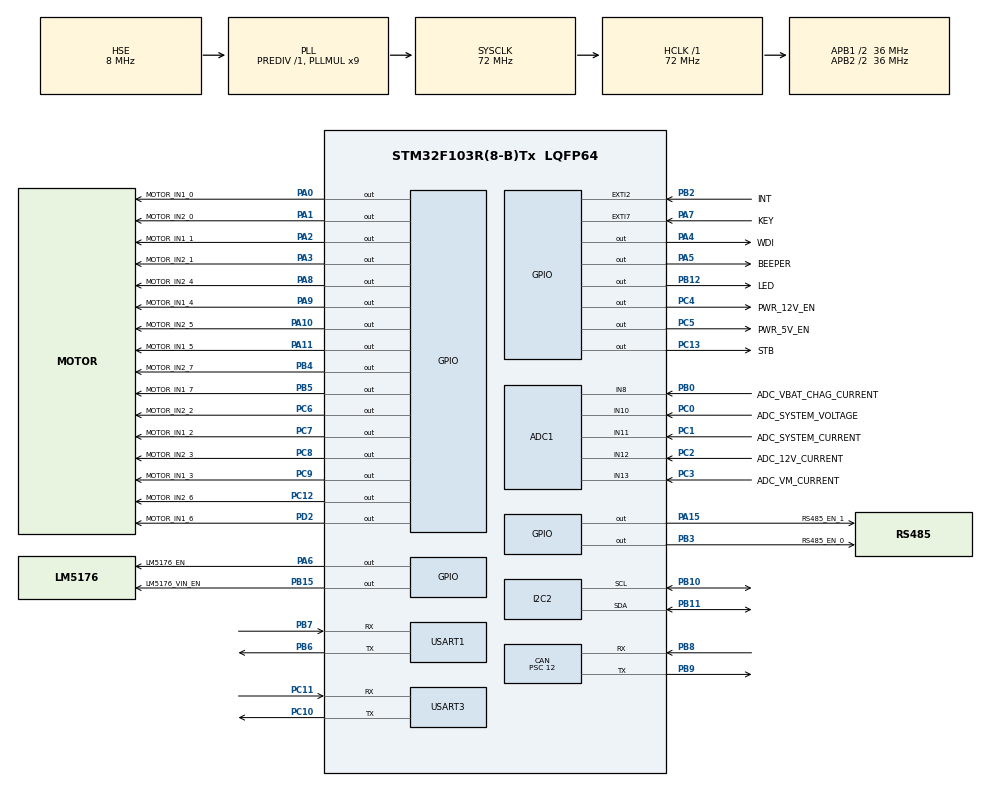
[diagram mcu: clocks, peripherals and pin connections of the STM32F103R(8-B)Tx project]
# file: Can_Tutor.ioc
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ADC1.Channel-0\#ChannelRegularConversion=ADC_CHANNEL_10
ADC1.DiscontinuousConvMode=DISABLE
ADC1.NbrOfConversion=1
ADC1.NbrOfConversionFlag=1
ADC1.Rank-0\#ChannelRegularConversion=1
ADC1.SamplingTime-0\#ChannelRegularConversion=ADC_SAMPLETIME_55CYCLES_5
ADC1.master=1
CAN.BS1=CAN_BS1_3TQ
CAN.BS2=CAN_BS2_2TQ
CAN.CalculateBaudRate=499999
CAN.CalculateTimeBit=2000
CAN.CalculateTimeQuantum=333.33333333333337
CAN.Prescaler=12
Mcu.Family=STM32F1
Mcu.Name=STM32F103R(8-B)Tx
Mcu.Package=LQFP64
NVIC.EXTI2_IRQn=true\:0\:0\:false\:false\:true\:true\:true\:true
NVIC.EXTI9_5_IRQn=true\:0\:0\:false\:false\:true\:true\:true\:true
NVIC.PriorityGroup=NVIC_PRIORITYGROUP_2
NVIC.TIM3_IRQn=true\:0\:0\:false\:false\:true\:true\:true\:true
NVIC.TIM4_IRQn=true\:0\:0\:true\:false\:true\:true\:true\:true
NVIC.USART1_IRQn=true\:0\:0\:true\:false\:true\:true\:true\:true
NVIC.USART3_IRQn=true\:0\:0\:true\:false\:true\:true\:true\:true
NVIC.USB_LP_CAN1_RX0_IRQn=true\:0\:0\:false\:false\:true\:true\:true\:true
PA0-WKUP.GPIO_Label=MOTOR_IN1_0
PA0-WKUP.Signal=GPIO_Output
PA1.GPIO_Label=MOTOR_IN2_0
PA1.Signal=GPIO_Output
PA10.GPIO_Label=MOTOR_IN2_5
PA10.Signal=GPIO_Output
PA11.GPIO_Label=MOTOR_IN1_5
PA11.Signal=GPIO_Output
PA13.Mode=Serial_Wire
PA13.Signal=SYS_JTMS-SWDIO
PA14.Mode=Serial_Wire
PA14.Signal=SYS_JTCK-SWCLK
PA15.GPIO_Label=RS485_EN_1
PA15.Signal=GPIO_Output
PA2.GPIO_Label=MOTOR_IN1_1
PA2.Signal=GPIO_Output
PA3.GPIO_Label=MOTOR_IN2_1
PA3.Signal=GPIO_Output
PA4.GPIO_Label=WDI
PA4.Signal=GPIO_Output
PA5.GPIO_Label=BEEPER
PA5.GPIO_Speed=GPIO_SPEED_FREQ_HIGH
PA5.PinState=GPIO_PIN_SET
PA5.Signal=GPIO_Output
PA6.GPIO_Label=LM5176_EN
PA6.Signal=GPIO_Output
PA7.GPIO_Label=KEY
PA7.GPIO_ModeDefaultEXTI=GPIO_MODE_IT_FALLING
PA7.Signal=GPXTI7
PA8.GPIO_Label=MOTOR_IN2_4
PA8.Signal=GPIO_Output
PA9.GPIO_Label=MOTOR_IN1_4
PA9.Signal=GPIO_Output
PB0.GPIO_Label=ADC_VBAT_CHAG_CURRENT
PB0.Signal=ADCx_IN8
PB10.GPIO_Pu=GPIO_PULLUP
PB10.Mode=I2C
PB10.Signal=I2C2_SCL
PB11.GPIO_Pu=GPIO_PULLUP
PB11.Mode=I2C
PB11.Signal=I2C2_SDA
PB12.GPIO_Label=LED
PB12.Signal=GPIO_Output
PB15.GPIO_Label=LM5176_VIN_EN
PB15.Signal=GPIO_Output
PB2.GPIO_Label=INT
PB2.GPIO_ModeDefaultEXTI=GPIO_MODE_IT_FALLING
PB2.Signal=GPXTI2
PB3.GPIO_Label=RS485_EN_0
PB3.Signal=GPIO_Output
PB4.GPIO_Label=MOTOR_IN2_7
PB4.Signal=GPIO_Output
PB5.GPIO_Label=MOTOR_IN1_7
PB5.Signal=GPIO_Output
PB6.Mode=Asynchronous
PB6.Signal=USART1_TX
PB7.Mode=Asynchronous
PB7.Signal=USART1_RX
PB8.Mode=CAN_Activate
PB8.Signal=CAN_RX
PB9.Mode=CAN_Activate
PB9.Signal=CAN_TX
PC0.GPIO_Label=ADC_SYSTEM_VOLTAGE
PC0.Signal=ADCx_IN10
PC1.GPIO_Label=ADC_SYSTEM_CURRENT
PC1.Signal=ADCx_IN11
PC10.Mode=Asynchronous
PC10.Signal=USART3_TX
PC11.Mode=Asynchronous
PC11.Signal=USART3_RX
PC12.GPIO_Label=MOTOR_IN2_6
PC12.Signal=GPIO_Output
PC13-TAMPER-RTC.GPIO_Label=STB
PC13-TAMPER-RTC.Signal=GPIO_Output
PC15-OSC32_OUT.Signal=RCC_OSC32_OUT
PC2.GPIO_Label=ADC_12V_CURRENT
PC2.Signal=ADCx_IN12
PC3.GPIO_Label=ADC_VM_CURRENT
PC3.Signal=ADCx_IN13
PC4.GPIO_Label=PWR_12V_EN
PC4.Signal=GPIO_Output
PC5.GPIO_Label=PWR_5V_EN
PC5.Signal=GPIO_Output
PC6.GPIO_Label=MOTOR_IN2_2
PC6.Signal=GPIO_Output
PC7.GPIO_Label=MOTOR_IN1_2
PC7.Signal=GPIO_Output
PC8.GPIO_Label=MOTOR_IN2_3
PC8.Signal=GPIO_Output
PC9.GPIO_Label=MOTOR_IN1_3
PC9.Signal=GPIO_Output
PD0-OSC_IN.Mode=HSE-External-Oscillator
PD0-OSC_IN.Signal=RCC_OSC_IN
PD1-OSC_OUT.Mode=HSE-External-Oscillator
PD1-OSC_OUT.Signal=RCC_OSC_OUT
PD2.GPIO_Label=MOTOR_IN1_6
PD2.Signal=GPIO_Output
ProjectManager.HeapSize=0x200
ProjectManager.StackSize=0x400
ProjectManager.TargetToolchain=MDK-ARM V5.27
RCC.ADCPresc=RCC_ADCPCLK2_DIV6
RCC.AHBFreq_Value=72000000
RCC.APB1CLKDivider=RCC_HCLK_DIV2
RCC.APB1Freq_Value=36000000
RCC.APB1TimFreq_Value=72000000
RCC.APB2CLKDivider=RCC_HCLK_DIV2
RCC.APB2Freq_Value=36000000
RCC.APB2TimFreq_Value=72000000
RCC.HCLKFreq_Value=72000000
RCC.PLLMUL=RCC_PLL_MUL9
RCC.PLLSourceVirtual=RCC_PLLSOURCE_HSE
RCC.SYSCLKFreq_VALUE=72000000
RCC.SYSCLKSource=RCC_SYSCLKSOURCE_PLLCLK
RCC.USBFreq_Value=72000000
SH.ADCx_IN10.0=ADC1_IN10,IN10
SH.ADCx_IN11.0=ADC1_IN11,IN11
SH.ADCx_IN12.0=ADC1_IN12,IN12
SH.ADCx_IN13.0=ADC1_IN13,IN13
SH.ADCx_IN8.0=ADC1_IN8,IN8
TIM3.AutoReloadPreload=TIM_AUTORELOAD_PRELOAD_ENABLE
TIM3.Period=999
TIM3.Prescaler=71
TIM4.AutoReloadPreload=TIM_AUTORELOAD_PRELOAD_ENABLE
TIM4.Period=99
TIM4.Prescaler=71
USART1.VirtualMode=VM_ASYNC
USART3.VirtualMode=VM_ASYNC
VP_TIM3_VS_ClockSourceINT.Mode=Internal
VP_TIM4_VS_ClockSourceINT.Mode=Internal
board=custom

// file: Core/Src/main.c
/* USER CODE BEGIN Header */
/**
 ******************************************************************************
 * @file           : main.c
 * @brief          : Main program body
 ******************************************************************************
 * @attention
 *
 * Copyright (c) 2024 STMicroelectronics.
 * All rights reserved.
 *
 * This software is licensed under terms that can be found in the LICENSE file
 * in the root directory of this software component.
 * If no LICENSE file comes with this software, it is provided AS-IS.
 *
 ******************************************************************************
 */
/* USER CODE END Header */
#include "main.h"

/* USER CODE BEGIN Includes */
// CAN通信
// https://blog.csdn.net/prolop87/article/details/122671441

// 串口模拟
// https://blog.csdn.net/Hard_Yao/article/details/128516418
#include <string.h>
#include <stdio.h>
#include <stdlib.h>

#include "leaf_ota.h"

/* USER CODE END Includes */

/* USER CODE BEGIN PD */
#define TCA9535_ADDRESS         (0x20)         // TCA9535的I2C地址
#define TCA9535_INPUT_PORT0_REG (0x00) // 输入端口0的寄存器地址
#define TCA9535_CONFIG_REG      (0x06)

#define CAN_RxExtId 0x17532F75

#define false 0
#define true 1

//=============================================================================
// 数据帧类型
//=============================================================================
#define CMD_OPEN_DOOR 0xA0
#define CMD_CLOSE_DOOR 0xA1
#define CMD_ALARM 0xA2
#define CMD_GET_DOOR_STATE 0xA3

#define CMD_TURN_ON 0xB1
#define CMD_TURN_OFF 0xB2

#define CMD_OTA_VERSION 0xC0
#define CMD_OTA_REQUEST 0xC1
#define CMD_OTA_DATA 0xC2
#define CMD_OTA_END 0xC3
#define CMD_OTA_RESET 0xC4

static uint16_t version = 0x0100; // 1.0
static uint16_t ota_file_size = 0;
static uint8_t ota_file_crc = 0;
static uint16_t firmwareSize = 0;
static uint16_t firmwareBatch = 0;
uint8_t firmwareBuffer[1024+8];

static int bOTA = 0;

int bPowerOff = 0;
int bPowerOff_count = 12;

int bTurnOff = 0;
int bTurnOff_count = 60;

/* USER CODE END PD */

ADC_HandleTypeDef hadc1;

CAN_HandleTypeDef hcan;

I2C_HandleTypeDef hi2c2;

TIM_HandleTypeDef htim2;
TIM_HandleTypeDef htim3;
TIM_HandleTypeDef htim4;

UART_HandleTypeDef huart1;
UART_HandleTypeDef huart3;

/* USER CODE BEGIN PV */

typedef struct
{
  uint8_t dir;
  uint8_t pwm;
  GPIO_TypeDef *GPIOx1;
  uint16_t GPIO_Pin1;
  GPIO_TypeDef *GPIOx2;
  uint16_t GPIO_Pin2;
} Motor_DataDef;

Motor_DataDef motor_pwm[8] = {
    {0, 0, MOTOR_IN1_0_GPIO_Port, MOTOR_IN1_0_Pin, MOTOR_IN2_0_GPIO_Port, MOTOR_IN2_0_Pin},
    {0, 0, MOTOR_IN1_1_GPIO_Port, MOTOR_IN1_1_Pin, MOTOR_IN2_1_GPIO_Port, MOTOR_IN2_1_Pin},
    {0, 0, MOTOR_IN1_2_GPIO_Port, MOTOR_IN1_2_Pin, MOTOR_IN2_2_GPIO_Port, MOTOR_IN2_2_Pin},
    {0, 0, MOTOR_IN1_3_GPIO_Port, MOTOR_IN1_3_Pin, MOTOR_IN2_3_GPIO_Port, MOTOR_IN2_3_Pin},
    {0, 0, MOTOR_IN1_4_GPIO_Port, MOTOR_IN1_4_Pin, MOTOR_IN2_4_GPIO_Port, MOTOR_IN2_4_Pin},
    {0, 0, MOTOR_IN1_5_GPIO_Port, MOTOR_IN1_5_Pin, MOTOR_IN2_5_GPIO_Port, MOTOR_IN2_5_Pin},
    {0, 0, MOTOR_IN1_6_GPIO_Port, MOTOR_IN1_6_Pin, MOTOR_IN2_6_GPIO_Port, MOTOR_IN2_6_Pin},
    {0, 0, MOTOR_IN1_7_GPIO_Port, MOTOR_IN1_7_Pin, MOTOR_IN2_7_GPIO_Port, MOTOR_IN2_7_Pin}};

uint16_t tm3_count = 0;
uint16_t tm4_count = 0;

uint16_t lastInuput = 0xFFFF; // 用于存储TCA9535的输入状态

// 当前传感器的状态
uint16_t cur_input = 0;
uint8_t bSendTCA = 0;

// CAN 通讯
uint8_t Rx_Flag;
uint8_t Tx_Flag;
uint8_t RxBuf[8];
uint8_t TxBuf[8];
uint8_t key;

CAN_TxHeaderTypeDef TxHeader; // 发送
CAN_RxHeaderTypeDef RxHeader; // 接收

uint8_t RxData[8]; // 数据接收数组，can的数据帧只有8帧

uint32_t CAN_TxExtId = 0x1800D0D8; // 发送ID

// KEY
volatile uint32_t keyPressTime = 0; // 记录按键按下时间
volatile enum { IDLE,
                LONG_PRESS_START,
                TURN_ON,
                TURN_OFF } keyState = IDLE,
                           runState = TURN_OFF; // 状态机

// ADC_Values
uint16_t ADC_Values[5];

// send adc data
uint8_t bSendAdc = 0;

/* 定义接收缓冲区 */
#define RXBUFFERSIZE 50
// uint8_t buffer1[RXBUFFERSIZE] = {0}; // USART1存储接收数据
// uint8_t UART1_Rx_flg = 0;            // USART1接收完成标志
// uint8_t sofar1 = 0;                  // USART1接受数据计数
uint8_t UART1_temp[1] = {0}; // USART1接收数据缓存

uint8_t buffer3[RXBUFFERSIZE] = {0}; // USART3存储接收数据
uint8_t UART3_Rx_flg = 0;            // USART3接收完成标志
uint8_t sofar3 = 0;                  // USART3接受数据计数
uint8_t UART3_temp[1] = {0};         // USART3接收数据缓存

// 1s timer
uint8_t bTimer1S = 0;

// 4s timer
uint8_t bTimer4S = 0;

uint8_t bAlarm = 0;
uint8_t alarm_count = 0;

/* USER CODE END PV */

void SystemClock_Config(void);
static void MX_GPIO_Init(void);
static void MX_ADC1_Init(void);
static void MX_CAN_Init(void);
static void MX_I2C2_Init(void);
static void MX_USART3_UART_Init(void);
static void MX_TIM3_Init(void);
static void MX_TIM4_Init(void);
static void MX_USART1_UART_Init(void);
/* USER CODE BEGIN PFP */

uint32_t GetChipID(void);

uint16_t ReadTCA9535Inputs(void);
void timer1s(void);

void CAN_Filter_Init(void); // 过滤器初始化
uint8_t CAN_Send_Msg(uint8_t *msg, uint8_t len);

void Key_Scan(void);

// ADC Read
uint16_t ADC_Read(uint32_t Channel);

void Send_TCA(void);
void Send_ADC(void);

int send_cmd(uint8_t *cmd, uint8_t len);

void Report_State(void);

/* USER CODE END PFP */

/* USER CODE BEGIN 0 */

// ============================== RS485 =========================================
/*****************************************************************************
函数名称 : CheckSum
功能描述 : 计算Checksum
输入参数 : uBuff:开始指针
          uBuffLen:长度

返回参数 : 所有的数值相加,取低8位,取反加1
*****************************************************************************/
unsigned char CheckSum(unsigned char *uBuff, unsigned char uBuffLen)
{
  unsigned char i, uSum = 0;
  for (i = 0; i < uBuffLen; i++)
  {
    uSum = uSum + uBuff[i];
  }
  uSum = (~uSum) + 1;
  return uSum;
}

unsigned char CheckSumFlash(uint32_t start_addr, uint16_t file_size)
{
  unsigned char uSum = 0;
  uint16_t batch = 0;
  uint16_t i = 0;

  for (batch = 0; batch < file_size / 256; batch++)
  {
    // Read 1024 bytes from flash
    STMFLASH_Read((start_addr + batch * 256), (uint32_t *) &firmwareBuffer[0], 64);
    for (i = 0; i < 256; i++)
    {
      uSum = uSum + firmwareBuffer[i];
    }
  }

  // read the remaining bytes
  STMFLASH_Read((start_addr + batch * 256), (uint32_t *) &firmwareBuffer[0], file_size % 256);

  for (i = 0; i < file_size % 256; i++)
  {
    uSum = uSum + firmwareBuffer[i];
  }

  uSum = (~uSum) + 1;

  return uSum;
}

void open_door(uint8_t door)
{
  if (cur_input |= (1 << door * 2))
  {
    printf("Door %d is already opened !\r\n", door);
    return;
  }
  else
  {
    printf("Open Door %d !\r\n", door);
    motor_pwm[door].dir = 1;
    motor_pwm[door].pwm = 50;
  }
}

void close_door(uint8_t door)
{
  printf("Close Door %d !\r\n", door);
  if (cur_input &= (1 << door * 2))
  {
    printf("Door %d is already closed !\r\n", door);
    return;
  }
  else
  {
    motor_pwm[door].dir = 0;
    motor_pwm[door].pwm = 50;
  }
}

unsigned char get_door_state(void)
{
  unsigned char door_state = 0;
  for (int i = 0; i < 8; i++)
  {
    if (cur_input & (1 << i * 2))
    {
      printf("Door %d is opened !\r\n", i);
      door_state |= (1 << i);
    }
  }

  return door_state;
}

// ============================== CAN =========================================
/*****************************************************************************
函数名称 : can_process
功能描述 : 收数据处理
输入参数 : value:串口收到字节数据
返回参数 : 无
使用说明 : 在MCU串口接收函数中调用该函数,并将接收到的数据作为参数传入
*****************************************************************************/

void dump_data(void)
{
  uint32_t * temp;

  temp = (uint32_t *) &firmwareBuffer[0];

  // dump the flash data from APP_NEW_FW_START_ADR
  for (int bank=0; bank < 1; bank++)
  {
    printf("Read Flash Data %x !\r\n", APP_NEW_FW_START_ADR + bank * 1024);

    STMFLASH_Read((APP_NEW_FW_START_ADR + bank * 1024), temp, 256);
    for (int i = 0; i < 256; i++)
    {
      printf("%08x ", temp[i]);
    }
    printf("\r\n");
  }

  for (int bank = 18; bank < 19; bank++)
  {
    printf("Read Flash Data %x !\r\n", APP_NEW_FW_START_ADR + bank * 1024);

    STMFLASH_Read((APP_NEW_FW_START_ADR + bank * 1024), temp, 256);
    for (int i = 0; i < 256; i++)
    {
      printf("%08x ", temp[i]);
    }
    printf("\r\n");
  }

}

uint8_t convert_vol(uint16_t adc, float scale)
{
  float voltage = adc / 4096.0 * 3.4 * 16;
  // printf("ADC = %d, Voltage = %f \r\n", adc, voltage);
  return (uint8_t) ((voltage - 25.0) / scale);
}

uint8_t convert_adc(uint16_t adc, float scale)
{
  float voltage = adc / 4096.0 * 3.4 * 1.36;
  float current = (voltage - 2.5) / scale ; // 20A 量程

  // printf("ADC = %d, Voltage = %f Current = %f\r\n", adc, voltage, current);

  return (uint8_t) (current / 0.2 + 128);
}

void can_process()
{
  // printf("Receive CAN Succeed !\r\n");
  unsigned char data = RxBuf[1];
  // uint16_t input;

  switch (RxBuf[0])
  {
  case CMD_OPEN_DOOR: // OPEN DOOR
    printf("Open Door !\r\n");

    // 从data最低位开始，如果这位的数值是1，就打开对应的门
    for (int i = 0; i < 8; i++)
    {
      if ((data >> i) & 0x01)
      {
        printf("Open Door %d !\r\n", i);
        open_door(i);
      }
    }

    // Send ACK
    TxBuf[0] = CMD_OPEN_DOOR;
    TxBuf[1] = 0x10;
    Tx_Flag = CAN_Send_Msg(TxBuf, 2);

    // 清空接收、发送数组，保留Rxbuf内容
    memset(TxBuf, 0, sizeof(TxBuf));
    break;

  case CMD_CLOSE_DOOR:
    printf("Close Door !\r\n");
    // 从data最低位开始，如果这位的数值是1，就打开对应的门
    for (int i = 0; i < 8; i++)
    {
      if ((data >> i) & 0x01)
      {
        printf("Close Door %d !\r\n", i);
        close_door(i);
      }
    }

    // Send ACK
    TxBuf[0] = CMD_CLOSE_DOOR;
    TxBuf[1] = 0x10;
    Tx_Flag = CAN_Send_Msg(TxBuf, 2);

    break;

  case CMD_ALARM:
    printf("Alarm !\r\n");

    if (RxBuf[1] == 0x0) {
      printf("Alarm Off !\r\n");
      bAlarm = 0;
      HAL_GPIO_WritePin(PWR_5V_EN_GPIO_Port, PWR_5V_EN_Pin, GPIO_PIN_SET);
    } else {
      bAlarm = 1;
      alarm_count = RxBuf[1];
      HAL_GPIO_WritePin(PWR_5V_EN_GPIO_Port, PWR_5V_EN_Pin, GPIO_PIN_RESET);
      printf("Alarm On !\r\n");
    }

    TxBuf[0] = CMD_ALARM;
    TxBuf[1] = 0x10;
    Tx_Flag = CAN_Send_Msg(TxBuf, 2);

    break;

  case CMD_GET_DOOR_STATE:
    printf("Get Door State !\r\n");

    // ADC: 2176 2499 2460 2520 2510

    ADC_Values[0] = ADC_Read(ADC_CHANNEL_10); // ADC SYSTEM VOLTAGE
    ADC_Values[1] = ADC_Read(ADC_CHANNEL_11); // ADC SYSTEM CURRENT
    ADC_Values[2] = ADC_Read(ADC_CHANNEL_12); // ADC 12V CURRENT
    ADC_Values[3] = ADC_Read(ADC_CHANNEL_13); // ADC VM CURRENT
    ADC_Values[4] = ADC_Read(ADC_CHANNEL_8);  // ADC VBAT CHARGE CURRENT

    // 门状态
    TxBuf[0] = CMD_GET_DOOR_STATE;
    TxBuf[1] = get_door_state();
    // 电量  ADC_Values[0]
    TxBuf[2] = convert_vol(ADC_Values[0], 0.05);
    // 电流     ADC_Values[1]
    TxBuf[3] = convert_adc(ADC_Values[1], 0.067);
    // 12V电流   ADC_Values[2]
    TxBuf[4] = convert_adc(ADC_Values[2], 0.1);
    // VM电流    ADC_Values[3]
    TxBuf[5] = convert_adc(ADC_Values[3], 0.1);
    // 这个从配置中获取
    TxBuf[6] = dev.charge_flag & 0xFF;
    // 故障码
    TxBuf[7] = 0x00;

    Tx_Flag = CAN_Send_Msg(TxBuf, 8);
    break;

  case CMD_TURN_ON:
    printf("Turn On !\r\n");
    // enable PWR_12V_EN_Pin
    HAL_GPIO_WritePin(PWR_12V_EN_GPIO_Port, PWR_12V_EN_Pin, GPIO_PIN_SET);
    // Send ACK
    TxBuf[0] = CMD_TURN_ON;
    TxBuf[1] = 0x10;
    Tx_Flag = CAN_Send_Msg(TxBuf, 2);

    break;

  case CMD_TURN_OFF:
    printf("Turn Off !\r\n");
    bPowerOff = 1;
    bPowerOff_count = 12;
    // Send ACK
    TxBuf[0] = CMD_TURN_OFF;
    TxBuf[1] = 0x10;
    Tx_Flag = CAN_Send_Msg(TxBuf, 2);

    break;

  // OTA proces
  case CMD_OTA_VERSION:
    printf("OTA Version : %x !\r\n", version);
    TxBuf[0] = CMD_OTA_VERSION;
    TxBuf[1] = (version & 0xFF00 ) >> 8;
    TxBuf[2] = version & 0xFF;
    Tx_Flag = CAN_Send_Msg(TxBuf, 3);
    break;

  case CMD_OTA_REQUEST:

    ota_file_size = (RxBuf[1] << 8) | RxBuf[2];
    ota_file_crc = RxBuf[3];

    printf("OTA Request %d, %d !\r\n", ota_file_size, ota_file_crc);

    TxBuf[0] = CMD_OTA_REQUEST;
    TxBuf[1] = 0x10;
    Tx_Flag = CAN_Send_Msg(TxBuf, 2);

	  Erase_page(APP_NEW_FW_START_ADR);
    printf("Flash Erase Finished !\r\n");

    firmwareBatch = 0;
    firmwareSize = 0;
    bOTA = 1;
    break;

  case CMD_OTA_DATA:
    for (int i = 1; i < RxHeader.DLC; i++)
    {
      firmwareBuffer[firmwareSize++] = RxData[i];
    }

    if (firmwareSize >= 256)
    {
      //Write firmwareBuffer to flash
      STMFLASH_Write((APP_NEW_FW_START_ADR + firmwareBatch * 256), (uint32_t *) &firmwareBuffer[0], 64);
      printf("OTA Data Receive batch %d !\r\n", firmwareBatch++);

      for (int i = 256; i < firmwareSize; i++)
      {
        firmwareBuffer[i-256] = firmwareBuffer[i];
      }
      firmwareSize -= 256;

      TxBuf[0] = CMD_OTA_DATA;
      TxBuf[1] = 0x10;
      Tx_Flag = CAN_Send_Msg(TxBuf, 2);
    }

    if (firmwareSize + 256 * firmwareBatch >= ota_file_size)
    {
      //Write firmwareBuffer to flash
      STMFLASH_Write((APP_NEW_FW_START_ADR + firmwareBatch * 256), (uint32_t *) &firmwareBuffer[0], firmwareSize/4);
      printf("Success:  OTA Data Receive Finished! Remain = %d \r\n", firmwareSize);
      TxBuf[0] = CMD_OTA_DATA;
      TxBuf[1] = 0x11;
      Tx_Flag = CAN_Send_Msg(TxBuf, 2);

      bOTA = 0;
    }

    break;

  case CMD_OTA_END:
    printf("OTA End, remain firmwareSize = %d, total_size = %d, crc = %d !\r\n", firmwareSize, ota_file_size, ota_file_crc);

    // check the CRC of the firmware
    if (ota_file_crc == CheckSumFlash(APP_NEW_FW_START_ADR, ota_file_size))
    {
      printf("OTA CRC Check Succeed !\r\n");
      // reset the system
      TxBuf[0] = CMD_OTA_END;
      TxBuf[1] = 0x10;
      Tx_Flag = CAN_Send_Msg(TxBuf, 2);
    }
    else
    {
      printf("OTA CRC Check Failed !\r\n");
      TxBuf[0] = CMD_OTA_END;
      TxBuf[1] = 0x61;
      Tx_Flag = CAN_Send_Msg(TxBuf, 2);
    }

    bOTA = 0;

    break;

  case CMD_OTA_RESET:
    printf("OTA Reset !\r\n");

    dev.backup_flag = Startup_Update;
    version = (RxBuf[1] << 8) | RxBuf[2];
    dev.version = version;

    write_boot_config();
    printf("BOOT FLAG Writed !\r\n");

    TxBuf[0] = CMD_OTA_RESET;
    TxBuf[1] = 0x10;
    Tx_Flag = CAN_Send_Msg(TxBuf, 2);

	  // restart the system
    HAL_NVIC_SystemReset();

	  break;

  default:
    break;
  }

  // 清空接收、发送数组，保留Rxbuf内容
  memset(RxData, 0, sizeof(RxData));
  memset(TxBuf, 0, sizeof(TxBuf));
}

/* USER CODE END 0 */

int main(void)
{
  /* USER CODE BEGIN 1 */
	__set_PRIMASK(0);   //  打开全局中断
  SCB->VTOR = 0x8004000U;
  /* USER CODE END 1 */

  /* MCU Configuration--------------------------------------------------------*/

  /* Reset of all peripherals, Initializes the Flash interface and the Systick. */
  HAL_Init();

  /* Configure the system clock */
  SystemClock_Config();

  /* Initialize all configured peripherals */
  MX_GPIO_Init();
  MX_ADC1_Init();
  MX_CAN_Init();
  MX_I2C2_Init();
  MX_USART3_UART_Init();
  MX_TIM3_Init();
  MX_TIM4_Init();
  MX_USART1_UART_Init();
  /* USER CODE BEGIN 2 */

  CAN_Filter_Init();

  // do some test here

  // end of test

  printf("Program Started !\r\n");

  HAL_TIM_Base_Start_IT(&htim3);
  HAL_TIM_Base_Start_IT(&htim4);

  /* USER CODE END 2 */

  /* Infinite loop */
  while (1)
  {

    /* USER CODE BEGIN 3 */

    // timer1s
    if (bTimer1S)
    {
      timer1s();
      bTimer1S = 0;
    }

    // timer4s
    if (bTimer4S)
    {
      // check the setting of the pwm signal
      printf("Motor PWM Setting !\r\n");
      bTimer4S = 0;
    }

    // CAN Receive
    if (Rx_Flag) // 如果接收标志位被置1，则开展逻辑判断
    {
      can_process();
      Rx_Flag = 0; // 标志位置0，等待下一次中断
    }

    // ADC
    if (bSendAdc && bOTA == 0)
    {
      Report_State();
      bSendAdc = 0;
    }

  }
  /* USER CODE END 3 */
}

void SystemClock_Config(void)
{
  RCC_OscInitTypeDef RCC_OscInitStruct = {0};
  RCC_ClkInitTypeDef RCC_ClkInitStruct = {0};
  RCC_PeriphCLKInitTypeDef PeriphClkInit = {0};

  /** Initializes the RCC Oscillators according to the specified parameters
   * in the RCC_OscInitTypeDef structure.
   */
  RCC_OscInitStruct.OscillatorType = RCC_OSCILLATORTYPE_HSE;
  RCC_OscInitStruct.HSEState = RCC_HSE_ON;
  RCC_OscInitStruct.HSEPredivValue = RCC_HSE_PREDIV_DIV1;
  RCC_OscInitStruct.HSIState = RCC_HSI_ON;
  RCC_OscInitStruct.PLL.PLLState = RCC_PLL_ON;
  RCC_OscInitStruct.PLL.PLLSource = RCC_PLLSOURCE_HSE;
  RCC_OscInitStruct.PLL.PLLMUL = RCC_PLL_MUL9;
  if (HAL_RCC_OscConfig(&RCC_OscInitStruct) != HAL_OK)
  {
    Error_Handler();
  }
  /** Initializes the CPU, AHB and APB buses clocks
   */
  RCC_ClkInitStruct.ClockType = RCC_CLOCKTYPE_HCLK | RCC_CLOCKTYPE_SYSCLK | RCC_CLOCKTYPE_PCLK1 | RCC_CLOCKTYPE_PCLK2;
  RCC_ClkInitStruct.SYSCLKSource = RCC_SYSCLKSOURCE_PLLCLK;
  RCC_ClkInitStruct.AHBCLKDivider = RCC_SYSCLK_DIV1;
  RCC_ClkInitStruct.APB1CLKDivider = RCC_HCLK_DIV2;
  RCC_ClkInitStruct.APB2CLKDivider = RCC_HCLK_DIV2;

  if (HAL_RCC_ClockConfig(&RCC_ClkInitStruct, FLASH_LATENCY_2) != HAL_OK)
  {
    Error_Handler();
  }
  PeriphClkInit.PeriphClockSelection = RCC_PERIPHCLK_ADC;
  PeriphClkInit.AdcClockSelection = RCC_ADCPCLK2_DIV6;
  if (HAL_RCCEx_PeriphCLKConfig(&PeriphClkInit) != HAL_OK)
  {
    Error_Handler();
  }
}

static void MX_ADC1_Init(void)
{

  ADC_ChannelConfTypeDef sConfig = {0};

  /** Common config
   */
  hadc1.Instance = ADC1;
  hadc1.Init.ScanConvMode = ADC_SCAN_DISABLE;
  hadc1.Init.ContinuousConvMode = DISABLE;
  hadc1.Init.DiscontinuousConvMode = DISABLE;
  hadc1.Init.ExternalTrigConv = ADC_SOFTWARE_START;
  hadc1.Init.DataAlign = ADC_DATAALIGN_RIGHT;
  hadc1.Init.NbrOfConversion = 1;
  if (HAL_ADC_Init(&hadc1) != HAL_OK)
  {
    Error_Handler();
  }
  /** Configure Regular Channel
   */
  sConfig.Channel = ADC_CHANNEL_10;
  sConfig.Rank = ADC_REGULAR_RANK_1;
  sConfig.SamplingTime = ADC_SAMPLETIME_55CYCLES_5;
  if (HAL_ADC_ConfigChannel(&hadc1, &sConfig) != HAL_OK)
  {
    Error_Handler();
  }
}

static void MX_CAN_Init(void)
{

  hcan.Instance = CAN1;
  hcan.Init.Prescaler = 12;
  hcan.Init.Mode = CAN_MODE_NORMAL;
  hcan.Init.SyncJumpWidth = CAN_SJW_1TQ;
  hcan.Init.TimeSeg1 = CAN_BS1_3TQ;
  hcan.Init.TimeSeg2 = CAN_BS2_2TQ;
  hcan.Init.TimeTriggeredMode = DISABLE;
  hcan.Init.AutoBusOff = DISABLE;
  hcan.Init.AutoWakeUp = DISABLE;
  hcan.Init.AutoRetransmission = DISABLE;
  hcan.Init.ReceiveFifoLocked = DISABLE;
  hcan.Init.TransmitFifoPriority = DISABLE;
  if (HAL_CAN_Init(&hcan) != HAL_OK)
  {
    Error_Handler();
  }
}

static void MX_I2C2_Init(void)
{

  hi2c2.Instance = I2C2;
  hi2c2.Init.ClockSpeed = 100000;
  hi2c2.Init.DutyCycle = I2C_DUTYCYCLE_2;
  hi2c2.Init.OwnAddress1 = 0;
  hi2c2.Init.AddressingMode = I2C_ADDRESSINGMODE_7BIT;
  hi2c2.Init.DualAddressMode = I2C_DUALADDRESS_DISABLE;
  hi2c2.Init.OwnAddress2 = 0;
  hi2c2.Init.GeneralCallMode = I2C_GENERALCALL_DISABLE;
  hi2c2.Init.NoStretchMode = I2C_NOSTRETCH_DISABLE;
  if (HAL_I2C_Init(&hi2c2) != HAL_OK)
  {
    Error_Handler();
  }
}

static void MX_TIM3_Init(void)
{

  TIM_ClockConfigTypeDef sClockSourceConfig = {0};
  TIM_MasterConfigTypeDef sMasterConfig = {0};

  htim3.Instance = TIM3;
  htim3.Init.Prescaler = 71;
  htim3.Init.CounterMode = TIM_COUNTERMODE_UP;
  htim3.Init.Period = 999;
  htim3.Init.ClockDivision = TIM_CLOCKDIVISION_DIV1;
  htim3.Init.AutoReloadPreload = TIM_AUTORELOAD_PRELOAD_ENABLE;
  if (HAL_TIM_Base_Init(&htim3) != HAL_OK)
  {
    Error_Handler();
  }
  sClockSourceConfig.ClockSource = TIM_CLOCKSOURCE_INTERNAL;
  if (HAL_TIM_ConfigClockSource(&htim3, &sClockSourceConfig) != HAL_OK)
  {
    Error_Handler();
  }
  sMasterConfig.MasterOutputTrigger = TIM_TRGO_RESET;
  sMasterConfig.MasterSlaveMode = TIM_MASTERSLAVEMODE_DISABLE;
  if (HAL_TIMEx_MasterConfigSynchronization(&htim3, &sMasterConfig) != HAL_OK)
  {
    Error_Handler();
  }
  /* USER CODE BEGIN TIM3_Init 2 */
  // Start the timer
  // HAL_TIM_Base_Start_IT(&htim3);
  /* USER CODE END TIM3_Init 2 */
}

static void MX_TIM4_Init(void)
{

  TIM_ClockConfigTypeDef sClockSourceConfig = {0};
  TIM_MasterConfigTypeDef sMasterConfig = {0};

  htim4.Instance = TIM4;
  htim4.Init.Prescaler = 71;
  htim4.Init.CounterMode = TIM_COUNTERMODE_UP;
  htim4.Init.Period = 19;
  htim4.Init.ClockDivision = TIM_CLOCKDIVISION_DIV1;
  htim4.Init.AutoReloadPreload = TIM_AUTORELOAD_PRELOAD_ENABLE;
  if (HAL_TIM_Base_Init(&htim4) != HAL_OK)
  {
    Error_Handler();
  }
  sClockSourceConfig.ClockSource = TIM_CLOCKSOURCE_INTERNAL;
  if (HAL_TIM_ConfigClockSource(&htim4, &sClockSourceConfig) != HAL_OK)
  {
    Error_Handler();
  }
  sMasterConfig.MasterOutputTrigger = TIM_TRGO_RESET;
  sMasterConfig.MasterSlaveMode = TIM_MASTERSLAVEMODE_DISABLE;
  if (HAL_TIMEx_MasterConfigSynchronization(&htim4, &sMasterConfig) != HAL_OK)
  {
    Error_Handler();
  }
  /* USER CODE BEGIN TIM4_Init 2 */
  // Start the timer
  // HAL_TIM_Base_Start_IT(&htim4);
  /* USER CODE END TIM4_Init 2 */
}

static void MX_USART1_UART_Init(void)
{

  huart1.Instance = USART1;
  huart1.Init.BaudRate = 115200;
  huart1.Init.WordLength = UART_WORDLENGTH_8B;
  huart1.Init.StopBits = UART_STOPBITS_1;
  huart1.Init.Parity = UART_PARITY_NONE;
  huart1.Init.Mode = UART_MODE_TX_RX;
  huart1.Init.HwFlowCtl = UART_HWCONTROL_NONE;
  huart1.Init.OverSampling = UART_OVERSAMPLING_16;
  if (HAL_UART_Init(&huart1) != HAL_OK)
  {
    Error_Handler();
  }
  /* USER CODE BEGIN USART1_Init 2 */
  HAL_UART_Receive_IT(&huart1, UART1_temp, 1);
  /* USER CODE END USART1_Init 2 */
}

static void MX_USART3_UART_Init(void)
{

  huart3.Instance = USART3;
  huart3.Init.BaudRate = 115200;
  huart3.Init.WordLength = UART_WORDLENGTH_8B;
  huart3.Init.StopBits = UART_STOPBITS_1;
  huart3.Init.Parity = UART_PARITY_NONE;
  huart3.Init.Mode = UART_MODE_TX_RX;
  huart3.Init.HwFlowCtl = UART_HWCONTROL_NONE;
  huart3.Init.OverSampling = UART_OVERSAMPLING_16;
  if (HAL_UART_Init(&huart3) != HAL_OK)
  {
    Error_Handler();
  }
  /* USER CODE BEGIN USART3_Init 2 */
  /* 启动中断接收 */
  HAL_UART_Receive_IT(&huart3, UART3_temp, 1);
  /* USER CODE END USART3_Init 2 */
}

static void MX_GPIO_Init(void)
{
  GPIO_InitTypeDef GPIO_InitStruct = {0};

  /* GPIO Ports Clock Enable */
  __HAL_RCC_GPIOC_CLK_ENABLE();
  __HAL_RCC_GPIOD_CLK_ENABLE();
  __HAL_RCC_GPIOA_CLK_ENABLE();
  __HAL_RCC_GPIOB_CLK_ENABLE();

  /*Configure GPIO pin Output Level */
  HAL_GPIO_WritePin(GPIOC, STB_Pin | PWR_12V_EN_Pin | PWR_5V_EN_Pin | MOTOR_IN2_2_Pin | MOTOR_IN1_2_Pin | MOTOR_IN2_3_Pin | MOTOR_IN1_3_Pin | MOTOR_IN2_6_Pin, GPIO_PIN_RESET);

  /*Configure GPIO pin Output Level */
  HAL_GPIO_WritePin(GPIOA, MOTOR_IN1_0_Pin | MOTOR_IN2_0_Pin | MOTOR_IN1_1_Pin | MOTOR_IN2_1_Pin | WDI_Pin | LM5176_EN_Pin | MOTOR_IN2_4_Pin | MOTOR_IN1_4_Pin | MOTOR_IN2_5_Pin | MOTOR_IN1_5_Pin | RS485_EN_1_Pin, GPIO_PIN_RESET);

  /*Configure GPIO pin Output Level */
  HAL_GPIO_WritePin(BEEPER_GPIO_Port, BEEPER_Pin, GPIO_PIN_SET);

  /*Configure GPIO pin Output Level */
  HAL_GPIO_WritePin(GPIOB, LED_Pin | LM5176_VIN_EN_Pin | RS485_EN_0_Pin | MOTOR_IN2_7_Pin | MOTOR_IN1_7_Pin, GPIO_PIN_RESET);

  /*Configure GPIO pin Output Level */
  HAL_GPIO_WritePin(MOTOR_IN1_6_GPIO_Port, MOTOR_IN1_6_Pin, GPIO_PIN_RESET);

  /*Configure GPIO pins : STB_Pin PWR_12V_EN_Pin PWR_5V_EN_Pin MOTOR_IN2_2_Pin
                           MOTOR_IN1_2_Pin MOTOR_IN2_3_Pin MOTOR_IN1_3_Pin MOTOR_IN2_6_Pin */
  GPIO_InitStruct.Pin = STB_Pin | PWR_12V_EN_Pin | PWR_5V_EN_Pin | MOTOR_IN2_2_Pin | MOTOR_IN1_2_Pin | MOTOR_IN2_3_Pin | MOTOR_IN1_3_Pin | MOTOR_IN2_6_Pin;
  GPIO_InitStruct.Mode = GPIO_MODE_OUTPUT_PP;
  GPIO_InitStruct.Pull = GPIO_NOPULL;
  GPIO_InitStruct.Speed = GPIO_SPEED_FREQ_LOW;
  HAL_GPIO_Init(GPIOC, &GPIO_InitStruct);

  /*Configure GPIO pins : MOTOR_IN1_0_Pin MOTOR_IN2_0_Pin MOTOR_IN1_1_Pin MOTOR_IN2_1_Pin
                           WDI_Pin LM5176_EN_Pin MOTOR_IN2_4_Pin MOTOR_IN1_4_Pin
                           MOTOR_IN2_5_Pin MOTOR_IN1_5_Pin RS485_EN_1_Pin */
  GPIO_InitStruct.Pin = MOTOR_IN1_0_Pin | MOTOR_IN2_0_Pin | MOTOR_IN1_1_Pin | MOTOR_IN2_1_Pin | WDI_Pin | LM5176_EN_Pin | MOTOR_IN2_4_Pin | MOTOR_IN1_4_Pin | MOTOR_IN2_5_Pin | MOTOR_IN1_5_Pin | RS485_EN_1_Pin;
  GPIO_InitStruct.Mode = GPIO_MODE_OUTPUT_PP;
  GPIO_InitStruct.Pull = GPIO_NOPULL;
  GPIO_InitStruct.Speed = GPIO_SPEED_FREQ_LOW;
  HAL_GPIO_Init(GPIOA, &GPIO_InitStruct);

  /*Configure GPIO pin : BEEPER_Pin */
  GPIO_InitStruct.Pin = BEEPER_Pin;
  GPIO_InitStruct.Mode = GPIO_MODE_OUTPUT_PP;
  GPIO_InitStruct.Pull = GPIO_NOPULL;
  GPIO_InitStruct.Speed = GPIO_SPEED_FREQ_HIGH;
  HAL_GPIO_Init(BEEPER_GPIO_Port, &GPIO_InitStruct);

  /*Configure GPIO pin : KEY_Pin */
  GPIO_InitStruct.Pin = KEY_Pin;
  GPIO_InitStruct.Mode = GPIO_MODE_IT_FALLING;
  GPIO_InitStruct.Pull = GPIO_NOPULL;
  HAL_GPIO_Init(KEY_GPIO_Port, &GPIO_InitStruct);

  /*Configure GPIO pin : INT_Pin */
  GPIO_InitStruct.Pin = INT_Pin;
  GPIO_InitStruct.Mode = GPIO_MODE_IT_FALLING;
  GPIO_InitStruct.Pull = GPIO_NOPULL;
  HAL_GPIO_Init(INT_GPIO_Port, &GPIO_InitStruct);

  /*Configure GPIO pins : LED_Pin LM5176_VIN_EN_Pin RS485_EN_0_Pin MOTOR_IN2_7_Pin
                           MOTOR_IN1_7_Pin */
  GPIO_InitStruct.Pin = LED_Pin | LM5176_VIN_EN_Pin | RS485_EN_0_Pin | MOTOR_IN2_7_Pin | MOTOR_IN1_7_Pin;
  GPIO_InitStruct.Mode = GPIO_MODE_OUTPUT_PP;
  GPIO_InitStruct.Pull = GPIO_NOPULL;
  GPIO_InitStruct.Speed = GPIO_SPEED_FREQ_LOW;
  HAL_GPIO_Init(GPIOB, &GPIO_InitStruct);

  /*Configure GPIO pin : MOTOR_IN1_6_Pin */
  GPIO_InitStruct.Pin = MOTOR_IN1_6_Pin;
  GPIO_InitStruct.Mode = GPIO_MODE_OUTPUT_PP;
  GPIO_InitStruct.Pull = GPIO_NOPULL;
  GPIO_InitStruct.Speed = GPIO_SPEED_FREQ_LOW;
  HAL_GPIO_Init(MOTOR_IN1_6_GPIO_Port, &GPIO_InitStruct);

  /* EXTI interrupt init*/
  HAL_NVIC_SetPriority(EXTI2_IRQn, 0, 0);
  HAL_NVIC_EnableIRQ(EXTI2_IRQn);

  HAL_NVIC_SetPriority(EXTI9_5_IRQn, 0, 0);
  HAL_NVIC_EnableIRQ(EXTI9_5_IRQn);

  /* USER CODE BEGIN MX_GPIO_Init_2 */
  // SET BEEPER_Pin to high
  HAL_GPIO_WritePin(BEEPER_GPIO_Port, BEEPER_Pin, GPIO_PIN_SET);
  // enable PWR_12V_EN_Pin
  HAL_GPIO_WritePin(PWR_12V_EN_GPIO_Port, PWR_12V_EN_Pin, GPIO_PIN_SET);
  // PWR_5V_EN_Pin
  HAL_GPIO_WritePin(PWR_5V_EN_GPIO_Port, PWR_5V_EN_Pin, GPIO_PIN_SET);

  /* USER CODE END MX_GPIO_Init_2 */
}
/* USER CODE BEGIN 4 */
/*
  1KHz,0.01ms interval for TIM4
  1KHz,1ms interval for TIM3
*/
void HAL_TIM_PeriodElapsedCallback(TIM_HandleTypeDef *htim)
{

  if (htim->Instance == TIM3)
  {
    tm3_count++;
    if (tm3_count >= 1000)
      tm3_count = 0;

    if (tm3_count == 0)
    {
      bTimer1S = 1;
    }
  }

  if (htim->Instance == TIM4)
  {
    tm4_count++;

    // 50us 一个tick
    if (tm4_count >= 100)
      tm4_count = 0;

    // if (tm4_count == 0)
    // {
    //   HAL_GPIO_WritePin(GPIOA, MOTOR_IN1_0_Pin, GPIO_PIN_SET);
    // }
    // else
    // {
    //   if (tm4_count == 25)
    //   {
    //     HAL_GPIO_WritePin(GPIOA, MOTOR_IN1_0_Pin, GPIO_PIN_RESET);
    //   }
    // }

    uint16_t pin;
    GPIO_TypeDef *port;

    if (tm4_count == 0)
    {
      /* code */
      for (int i = 0; i < 8; i++)
      {
        Motor_DataDef md = motor_pwm[i];
        if (md.pwm > 0)
        {
          pin = md.dir == 0 ? md.GPIO_Pin1 : md.GPIO_Pin2;
          port = md.dir == 0 ? md.GPIOx1 : md.GPIOx2;
          HAL_GPIO_WritePin(port, pin, GPIO_PIN_SET);
          // port->ODR |=  pin;
        }
      }
      // HAL_GPIO_WritePin(GPIOA, MOTOR_IN1_0_Pin, GPIO_PIN_SET);
    }
    else
    {
      /* code */
      for (int i = 0; i < 8; i++)
      {
        Motor_DataDef md = motor_pwm[i];
        if (tm4_count == md.pwm)
        {
          pin = md.dir == 0 ? md.GPIO_Pin1 : md.GPIO_Pin2;
          port = md.dir == 0 ? md.GPIOx1 : md.GPIOx2;
          HAL_GPIO_WritePin(port, pin, GPIO_PIN_RESET);
          // port->ODR &= ~pin;
        }
      }

      // single example
      //  if (tm4_count == 25)
      //  {
      //    HAL_GPIO_WritePin(GPIOA, MOTOR_IN1_0_Pin, GPIO_PIN_RESET);
      //  }
    }
  }

}

void HAL_UART_RxCpltCallback(UART_HandleTypeDef *huart)
{
  if (huart->Instance == USART1) /* 检查是否是USART1的回调 */
  {
    // rs485_receive_input(UART1_temp[0]);
    // HAL_UART_Receive_IT(&huart1, UART1_temp, 1);
  }

  if (huart->Instance == USART3) /* 检查是否是USART3的回调 */
  {
    // if (sofar3 < RXBUFFERSIZE - 1)
    //   buffer3[sofar3++] = UART3_temp[0];
    // if (0x0a == UART3_temp[0])
    //   UART3_Rx_flg = 1;
    // else
    //   HAL_UART_Receive_IT(&huart3, UART3_temp, 1);
  }
}

// 初始化TCA9535，配置端口0 和端口1全为输入
void InitTCA9535(void)
{
  uint16_t input = ReadTCA9535Inputs();
  ReadTCA9535Inputs();
  // print input value
  printf("TCA9535 input: 0x%x\n", input);
  if (HAL_I2C_Mem_Write(&hi2c2, TCA9535_ADDRESS << 1, TCA9535_CONFIG_REG, I2C_MEMADD_SIZE_8BIT, (uint8_t[]){0xFF, 0xFF}, 2, HAL_MAX_DELAY) != HAL_OK)
  {
    Error_Handler();
  }
}

// 读取TCA9535的输入状态
uint16_t ReadTCA9535Inputs(void)
{
  uint8_t data[2];         // 用于存储读取到的两个字节数据
  uint16_t inputState = 0; // 用于存储16位的输入状态

  uint8_t tca9335_config_reg = TCA9535_INPUT_PORT0_REG;

  // 锁定总线，开始传输

  if (HAL_I2C_Master_Transmit(&hi2c2, TCA9535_ADDRESS << 1, &tca9335_config_reg, 1, HAL_MAX_DELAY) != HAL_OK)
  {
    // 发送寄存器地址错误处理
    Error_Handler();
  }

  // 接收两个输入寄存器的数据
  if (HAL_I2C_Master_Receive(&hi2c2, TCA9535_ADDRESS << 1, data, 2, HAL_MAX_DELAY) != HAL_OK)
  {
    // 数据接收错误处理
    Error_Handler();
  }

  if (HAL_I2C_Mem_Read(&hi2c2, TCA9535_ADDRESS << 1, TCA9535_INPUT_PORT0_REG, I2C_MEMADD_SIZE_8BIT, data, 2, HAL_MAX_DELAY) != HAL_OK)
  {
    // 数据接收错误处理
    Error_Handler();
  }

  // 合并两个字节为16位数据
  inputState = (data[1] << 8) | data[0];
  // printf("TCA9535 input: 0x%x\n", inputState);

  return inputState;
}

static int time1s_count = 0;

void timer1s(void)
{
  uint16_t input = ReadTCA9535Inputs();

  if (input != lastInuput)
  {
    // find the difference bits between lastInuput and input
    uint16_t diff = lastInuput ^ input;

    // 串口发送对应的bit位的状态
    for (int i = 0; i < 16; i++)
    {
      if (diff & (1 << i))
      {
        // printf("TCA9535 input bit %d: %d\n", i, (input & (1 << i)) >> i);
        if ((input & (1 << i)) >> i)
        {
          // change the motor pwm speed to 0
          motor_pwm[i % 2].pwm = 0;
        }
      }
    }

    cur_input = input;
    bSendTCA = 1;
  }

  time1s_count++;

  if (time1s_count == 5)
  {
    bSendAdc = 1;
    time1s_count = 0;
  }

  // 切断12V 电压
  if (bPowerOff == 1)
  {
    bPowerOff_count--;
    if (bPowerOff_count == 0)
    {
      HAL_GPIO_WritePin(PWR_12V_EN_GPIO_Port, PWR_12V_EN_Pin, GPIO_PIN_RESET);
      bPowerOff = 0;
    }
  }

  // Alarm
  if (bAlarm == 1)
  {
    alarm_count--;
    if (alarm_count == 0)
    {
      HAL_GPIO_WritePin(BEEPER_GPIO_Port, BEEPER_Pin, GPIO_PIN_SET);
      bAlarm = 0;
    }
  }

  // bTurnOff
  // if (bTurnOff)
  // {
  //   if (bTurnOff_count == 0)
  //   {
  //     printf(" Send Turn off cmd !\r\n");
  //     bTurnOff = 0;
  //     TxBuf[0] = CMD_TURN_OFF;
  //     TxBuf[1] = 0xFF;
  //     Tx_Flag = CAN_Send_Msg(TxBuf, 2);
  //   }
  //   else
  //   {
  //     bTurnOff_count--;
  //   }
  // }

}

int send_cmd(uint8_t *cmd, uint8_t len)
{
  HAL_GPIO_WritePin(RS485_EN_0_GPIO_Port, RS485_EN_0_Pin, GPIO_PIN_SET);
  HAL_UART_Transmit(&huart1, cmd, len, 0xffff);
  HAL_GPIO_WritePin(RS485_EN_0_GPIO_Port, RS485_EN_0_Pin, GPIO_PIN_RESET);
  return 0;
}

// 重定义printf和getchar，便于调试
int fputc(int ch, FILE *f)
{
  HAL_GPIO_WritePin(RS485_EN_0_GPIO_Port, RS485_EN_0_Pin, GPIO_PIN_SET);
  HAL_UART_Transmit(&huart1, (uint8_t *)&ch, 1, 0xffff);
  HAL_GPIO_WritePin(RS485_EN_0_GPIO_Port, RS485_EN_0_Pin, GPIO_PIN_RESET);
  return ch;
}

int fgetc(FILE *f)
{
  uint8_t ch = 0;
  HAL_UART_Receive(&huart1, &ch, 1, 0xffff);
  return ch;
}

/*CAN接收中断函数*/
void HAL_CAN_RxFifo0MsgPendingCallback(CAN_HandleTypeDef *CanNum)
{
  uint32_t i;

  Rx_Flag = 1; // 接收标志位
  HAL_CAN_GetRxMessage(&hcan, CAN_RX_FIFO0, &RxHeader, RxData);
  for (i = 0; i < RxHeader.DLC; i++)
    RxBuf[i] = RxData[i]; // 用RxBuf转存RxData的数据
}

/*CAN发送数据，入口参数为要发送的数组指针，数据长度，返回0代表发送数据无异常，返回1代表传输异常*/
uint8_t CAN_Send_Msg(uint8_t *msg, uint8_t len)
{
  uint8_t i = 0;
  uint32_t TxMailbox;
  uint8_t message[8];

  TxHeader.ExtId = CAN_TxExtId; // 扩展标识符(29位)
  TxHeader.IDE = CAN_ID_EXT;    // 使用扩展帧
  TxHeader.RTR = CAN_RTR_DATA;  // 数据帧
  TxHeader.DLC = len;

  for (i = 0; i < len; i++)
  {
    message[i] = msg[i];
  }

  if (HAL_CAN_AddTxMessage(&hcan, &TxHeader, message, &TxMailbox) != HAL_OK) // 发送
  {
    printf("CAN Send failed!\r\n");
    return 1;
  }
  while (HAL_CAN_GetTxMailboxesFreeLevel(&hcan) != 3)
  {
  }

  return 0;
}

/*CAN过滤器初始化*/
void CAN_Filter_Init(void)
{
  uint32_t CPU_ID[3]; // 定义一个数组存储CPU的ID
  CPU_ID[0] = HAL_GetUIDw0();
  CPU_ID[1] = HAL_GetUIDw1();
  CPU_ID[2] = HAL_GetUIDw2();

  CAN_TxExtId = (CPU_ID[0] + CPU_ID[0] + CPU_ID[0]) & 0x1FFFFFFF; // 获取设备ID

  // Read boot config
  read_boot_config();

  if (dev.version != 0 && dev.version != 0xffff)
  {
    version = dev.version;
  } else {
    dev.version = 0x0100;
    dev.backup_flag = 0xFFFFFFFF;   //Start Normal
    dev.charge_flag = 0;
    dev.serial_no = 0x12345678;
    dev.can_server_id = 0x17532F75;
    write_boot_config();
  }

  printf("Device info: CAN_TxExtId: %x, version: %x, can_server_id: %x, serial_no: %x, charge_flag: %x, backup_flag: %x\n", CAN_TxExtId,  dev.version, dev.can_server_id, dev.serial_no, dev.charge_flag, dev.backup_flag);

  CAN_FilterTypeDef sFilterConfig;

  sFilterConfig.FilterBank = 0;                      /* 过滤器组0 */
  sFilterConfig.FilterMode = CAN_FILTERMODE_IDMASK;  /* 屏蔽位模式 */
  sFilterConfig.FilterScale = CAN_FILTERSCALE_32BIT; /* 32位。*/

  sFilterConfig.FilterIdHigh = (((uint32_t)CAN_RxExtId << 3) & 0xFFFF0000) >> 16;                  /* 要过滤的ID高位 */
  sFilterConfig.FilterIdLow = (((uint32_t)CAN_RxExtId << 3) | CAN_ID_EXT | CAN_RTR_DATA) & 0xFFFF; /* 要过滤的ID低位 */
  sFilterConfig.FilterMaskIdHigh = 0xFFFF;                                                         /* 过滤器高16位每位必须匹配 */
  sFilterConfig.FilterMaskIdLow = 0xFFFF;                                                          /* 过滤器低16位每位必须匹配 */
  sFilterConfig.FilterFIFOAssignment = CAN_RX_FIFO0;                                               /* 过滤器被关联到FIFO 0 */
  sFilterConfig.FilterActivation = ENABLE;                                                         /* 使能过滤器 */
  sFilterConfig.SlaveStartFilterBank = 14;

  if (HAL_CAN_ConfigFilter(&hcan, &sFilterConfig) != HAL_OK)
  {
    /* Filter configuration Error */
    Error_Handler();
  }

  if (HAL_CAN_Start(&hcan) != HAL_OK)
  {
    /* Start Error */
    Error_Handler();
  }

  /*##-4- Activate CAN RX notification #######################################*/
  if (HAL_CAN_ActivateNotification(&hcan, CAN_IT_RX_FIFO0_MSG_PENDING) != HAL_OK)
  {
    /* Start Error */
    Error_Handler();
  }

  TxHeader.ExtId = CAN_TxExtId; // 扩展标识符(29位)
  TxHeader.IDE = CAN_ID_EXT;    // 使用标准帧
  TxHeader.RTR = CAN_RTR_DATA;  // 数据帧
  TxHeader.DLC = 8;
  TxHeader.TransmitGlobalTime = DISABLE;
}

void Key_Scan(void)
{
  static uint32_t lastKeyState = GPIO_PIN_RESET;
  uint32_t currentKeyState = HAL_GPIO_ReadPin(KEY_GPIO_Port, KEY_Pin);

  // 去抖动处理，可以通过延时或者状态机方式实现，这里简化处理
  if (currentKeyState != lastKeyState)
  {
    HAL_Delay(20); // 简单的去抖动延时
    currentKeyState = HAL_GPIO_ReadPin(KEY_GPIO_Port, KEY_Pin);
  }

  if (currentKeyState == GPIO_PIN_RESET && lastKeyState == GPIO_PIN_SET)
  {
    keyState = LONG_PRESS_START; // 按键从释放变为按下，开始计时
    // HAL_TIM_Base_Start_IT(&htim3); // 启动定时器中断
  }
  else if (currentKeyState == GPIO_PIN_SET && lastKeyState == GPIO_PIN_RESET)
  {
    keyState = IDLE; // 按键释放，重置状态
    // HAL_TIM_Base_Stop_IT(&htim3); // 停止定时器中断
    keyPressTime = 0; // 重置计时
  }
  lastKeyState = currentKeyState;
}

uint16_t ADC_Read(uint32_t Channel)
{
  ADC_ChannelConfTypeDef sConfig = {0};
  sConfig.Channel = Channel; /* 通道 */
  sConfig.Rank = ADC_REGULAR_RANK_1;
  sConfig.SamplingTime = ADC_SAMPLETIME_55CYCLES_5; /* 采样时间 */
  if (HAL_ADC_ConfigChannel(&hadc1, &sConfig) != HAL_OK)
  {
    Error_Handler();
  }
  HAL_ADC_Start(&hadc1);
  HAL_ADC_PollForConversion(&hadc1, HAL_MAX_DELAY);
  return (uint16_t)HAL_ADC_GetValue(&hadc1);
}

void Send_TCA(void)
{
  // CAN发送2个字节的数据
  // send the charge status to CAN
  uint16_t input = cur_input;

  TxBuf[0] = 0xAB;
  TxBuf[1] = input & 0xFF;
  TxBuf[2] = input >> 8;

  Tx_Flag = CAN_Send_Msg(TxBuf, 3); // 发送数据，根据返回值判定发送是否异常
  // if (Tx_Flag)
  //   printf("Send failed ,please check your data !\r\n"); // 返回1代表数据发送异常
  // else
  //   printf("Send TCA completed !\r\n");

  // 清空接收、发送数组，保留Rxbuf内容
  memset(TxBuf, 0, sizeof(TxBuf));
  // HAL_Delay(50);

  lastInuput = cur_input;
  // 串口发送
  printf("TCA9535 input: %x\n", input);
  bSendTCA = 0;
}

void Report_State(void)
{
  ADC_Values[0] = ADC_Read(ADC_CHANNEL_10); // ADC SYSTEM VOLTAGE
  ADC_Values[1] = ADC_Read(ADC_CHANNEL_11); // ADC SYSTEM CURRENT
  ADC_Values[2] = ADC_Read(ADC_CHANNEL_12); // ADC 12V CURRENT
  ADC_Values[3] = ADC_Read(ADC_CHANNEL_13); // ADC VM CURRENT
  ADC_Values[4] = ADC_Read(ADC_CHANNEL_8);  // ADC VBAT CHARGE CURRENT

  // 门状态
  TxBuf[0] = CMD_GET_DOOR_STATE;
  TxBuf[1] = get_door_state();
  // 电量  ADC_Values[0]
  TxBuf[2] = convert_vol(ADC_Values[0], 0.05);
  // 电流     ADC_Values[1]
  TxBuf[3] = convert_adc(ADC_Values[1], 0.067);
  // 12V电流   ADC_Values[2]
  TxBuf[4] = convert_adc(ADC_Values[2], 0.1);
  // VM电流    ADC_Values[3]
  TxBuf[5] = convert_adc(ADC_Values[3], 0.1);
  // 这个从配置中获取
  TxBuf[6] = dev.charge_flag & 0xFF;
  // 故障码
  TxBuf[7] = 0x00;

  Tx_Flag = CAN_Send_Msg(TxBuf, 8);
}

void HAL_GPIO_EXTI_Callback(uint16_t GPIO_Pin)
{
  if (GPIO_Pin == KEY_Pin)
  {
    // printf("KEY_Pin\n");
  }

  if (GPIO_Pin == INT_Pin)
  {
  }
}

/* USER CODE END 4 */

void Error_Handler(void)
{
  __disable_irq();
  while (1)
  {
  }
}

/************************ (C) COPYRIGHT STMicroelectronics *****END OF FILE****/
